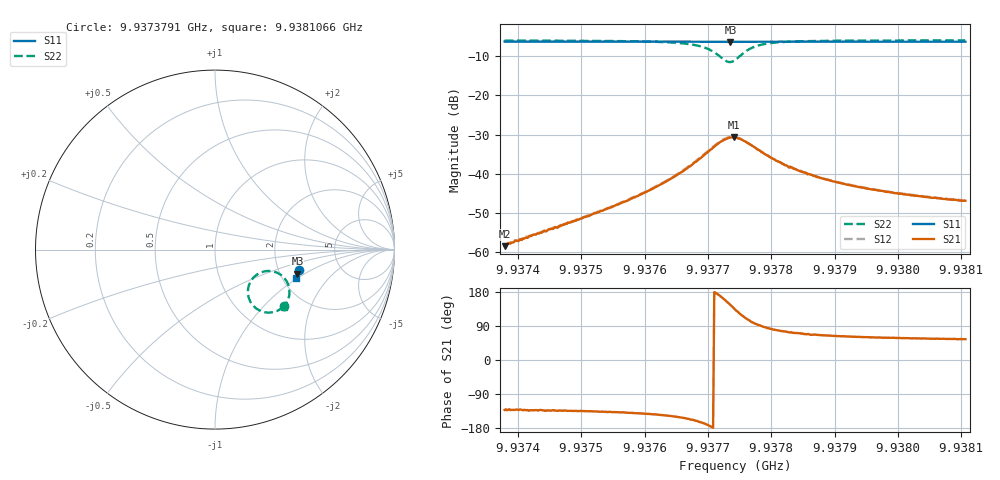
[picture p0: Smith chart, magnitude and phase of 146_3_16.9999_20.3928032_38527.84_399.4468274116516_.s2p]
#  HZ  S  RI  R  50.00
! Rohde & Schwarz Vector Network Analyzer
! Rohde-Schwarz,ZNB20-2Port,1311601062101988,3.16
! Created: UTC 3/20/2024, 10:58:39 PM
! freq[Hz]  re:S11  im:S11  re:S21  im:S21  re:S12  im:S12  re:S22  im:S22
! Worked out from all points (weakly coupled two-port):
!   401 points, 9.9373791 GHz to 9.9381066 GHz, reference 50 ohm
!   highest |S21| = -30.70 dB at 9.937741 GHz (marker M1); lowest = -58.4 dB at 9.9373791 GHz (marker M2)
!   lowest |S11| = -6.4 dB at 9.9377356 GHz (marker M3), VSWR 2.83, Z = 124 - j43 ohm
!   |S11| at or under -10 dB: nowhere
!   |S22| runs from -11.5 to -6.0 dB; largest |S21 - S12| = 0.0014
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9.9373791e9  0.4701 -0.1115  -0.000802 -0.000896  -0.000839 -0.000942  0.3833 -0.3162
9.93750096e9  0.4674 -0.1198  -0.0019 -0.00193  -0.00197 -0.00189  0.3676 -0.329
9.9375719e9  0.4658 -0.1246  -0.00343 -0.00299  -0.00352 -0.00295  0.351 -0.339
9.93762282e9  0.4643 -0.1282  -0.00584 -0.00413  -0.00601 -0.00414  0.3277 -0.3473
9.93766284e9  0.4631 -0.1311  -0.00994 -0.00504  -0.0103 -0.00494  0.2909 -0.3506
9.93769558e9  0.4614 -0.133  -0.0174 -0.00367  -0.0179 -0.00329  0.2318 -0.3293
9.93770831e9  0.4605 -0.1337  -0.0216 -0.000458  -0.0222 0.000204  0.2017 -0.298
9.93771922e9  0.4598 -0.1339  -0.0249 0.00463  -0.0252 0.00581  0.1842 -0.2508
9.93772831e9  0.4593 -0.1339  -0.0253 0.011  -0.0255 0.0123  0.189 -0.1991
9.93773559e9  0.4591 -0.1335  -0.0238 0.0164  -0.0235 0.0177  0.2117 -0.1588
9.93774105e9  0.4594 -0.1334  -0.0212 0.02  -0.0206 0.0211  0.2384 -0.1364
9.93774286e9  0.4594 -0.1334  -0.0201 0.021  -0.0192 0.0222  0.2487 -0.1307
9.93775196e9  0.4598 -0.1335  -0.0139 0.0239  -0.0132 0.0246  0.301 -0.1191
9.93776287e9  0.4604 -0.1341  -0.00725 0.0236  -0.00644 0.024  0.3523 -0.1321
9.93778288e9  0.4609 -0.1358  -0.000303 0.0195  0.000406 0.0195  0.3997 -0.1771
9.93780107e9  0.4608 -0.1374  0.00223 0.0156  0.00274 0.0157  0.4128 -0.2111
9.93782471e9  0.4604 -0.1392  0.00333 0.0123  0.00381 0.0123  0.4152 -0.2408
9.93786473e9  0.4597 -0.1421  0.00381 0.00888  0.004 0.00888  0.4102 -0.2694
9.93791747e9  0.4583 -0.1458  0.00343 0.00653  0.0036 0.00655  0.4023 -0.2897
9.93798659e9  0.4566 -0.1504  0.00304 0.005  0.00315 0.005  0.3937 -0.3048
9.93805207e9  0.4547 -0.1547  0.00276 0.00415  0.00288 0.00418  0.3871 -0.3138
9.93810663e9  0.4534 -0.1583  0.00261 0.00372  0.0027 0.00369  0.3825 -0.3198
